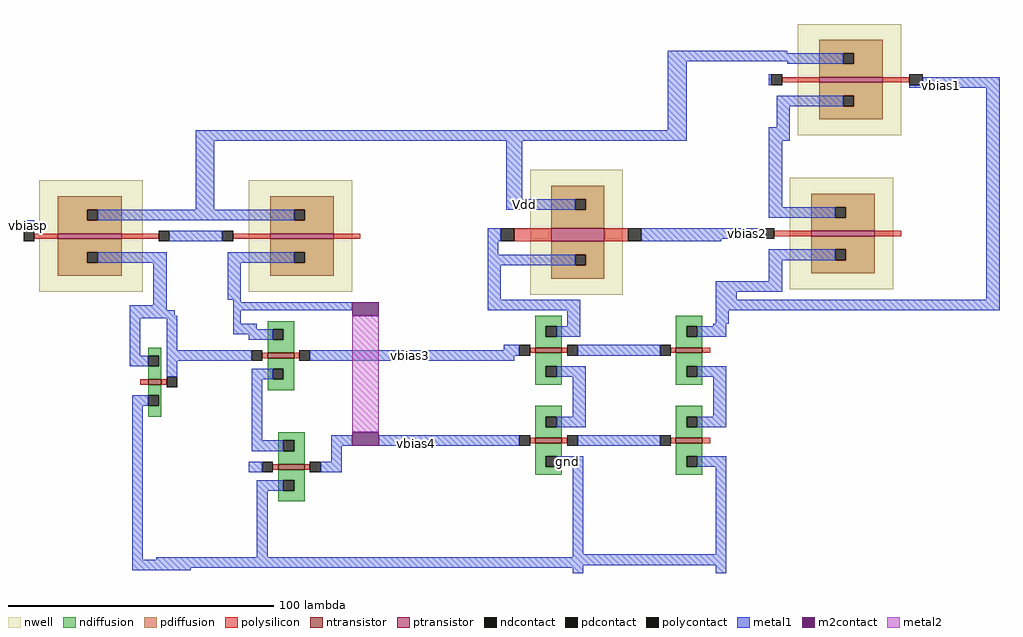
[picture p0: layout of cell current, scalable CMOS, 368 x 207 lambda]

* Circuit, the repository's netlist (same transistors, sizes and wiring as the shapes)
* SPICE3 file created from current.ext - technology: scmos

.option scale=0.09u

M1000 vbias1 vbias3 a_485_31# Gnd nfet w=10 l=2
+  ad=120 pd=44 as=240 ps=88
M1001 Vdd vbias2 vbias2 w_430_85# pfet w=20 l=5
+  ad=1328 pd=300 as=280 ps=68
M1002 a_432_31# vbias4 gnd Gnd nfet w=10 l=2
+  ad=240 pd=88 as=420 ps=166
M1003 Vdd vbiasp vbias3 w_245_86# pfet w=24 l=2
+  ad=0 pd=0 as=336 ps=76
M1004 a_331_49# vbias4 gnd Gnd nfet w=10 l=2
+  ad=240 pd=88 as=0 ps=0
M1005 a_485_31# vbias4 gnd Gnd nfet w=10 l=2
+  ad=0 pd=0 as=0 ps=0
M1006 vbias4 vbias3 a_331_49# Gnd nfet w=10 l=2
+  ad=120 pd=44 as=0 ps=0
M1007 Vdd vbiasp vbias4 w_324_86# pfet w=24 l=2
+  ad=0 pd=0 as=336 ps=76
M1008 Vdd vbias1 a_536_109# w_531_145# pfet w=24 l=2
+  ad=0 pd=0 as=672 ps=152
M1009 a_536_109# vbias2 vbias1 w_528_87# pfet w=24 l=2
+  ad=0 pd=0 as=336 ps=76
M1010 vbias3 vbias3 gnd Gnd nfet w=5 l=2
+  ad=60 pd=34 as=0 ps=0
M1011 vbias2 vbias3 a_432_31# Gnd nfet w=10 l=2
+  ad=120 pd=44 as=0 ps=0

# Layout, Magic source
magic
tech scmos
<< nwell >>
rect 531 145 570 187
rect 245 86 284 128
rect 324 86 363 128
rect 430 85 465 132
rect 528 87 567 129
<< ntransistor >>
rect 331 61 341 63
rect 432 63 442 65
rect 286 51 291 53
rect 485 63 495 65
rect 432 29 442 31
rect 485 29 495 31
rect 335 19 345 21
<< ptransistor >>
rect 539 165 563 167
rect 252 106 276 108
rect 332 106 356 108
rect 438 105 458 110
rect 536 107 560 109
<< ndiffusion >>
rect 331 72 341 75
rect 331 68 333 72
rect 337 68 341 72
rect 286 62 291 65
rect 290 58 291 62
rect 331 63 341 68
rect 432 73 442 77
rect 432 69 436 73
rect 440 69 442 73
rect 286 53 291 58
rect 331 57 341 61
rect 432 65 442 69
rect 485 73 495 77
rect 485 69 489 73
rect 493 69 495 73
rect 286 47 291 51
rect 331 53 333 57
rect 337 53 341 57
rect 331 49 341 53
rect 432 58 442 63
rect 485 65 495 69
rect 432 54 436 58
rect 440 54 442 58
rect 432 51 442 54
rect 485 58 495 63
rect 485 54 489 58
rect 493 54 495 58
rect 485 51 495 54
rect 290 43 291 47
rect 286 39 291 43
rect 432 39 442 43
rect 432 35 436 39
rect 440 35 442 39
rect 335 30 345 33
rect 335 26 337 30
rect 341 26 345 30
rect 432 31 442 35
rect 485 39 495 43
rect 485 35 489 39
rect 493 35 495 39
rect 335 21 345 26
rect 432 24 442 29
rect 485 31 495 35
rect 335 15 345 19
rect 432 20 436 24
rect 440 20 442 24
rect 432 17 442 20
rect 485 24 495 29
rect 485 20 489 24
rect 493 20 495 24
rect 485 17 495 20
rect 335 11 337 15
rect 341 11 345 15
rect 335 7 345 11
<< pdiffusion >>
rect 539 176 563 181
rect 539 172 548 176
rect 552 172 563 176
rect 539 167 563 172
rect 539 160 563 165
rect 539 156 548 160
rect 552 156 563 160
rect 539 151 563 156
rect 252 117 276 122
rect 252 113 263 117
rect 267 113 276 117
rect 252 108 276 113
rect 332 117 356 122
rect 332 113 341 117
rect 345 113 356 117
rect 252 101 276 106
rect 332 108 356 113
rect 438 121 458 126
rect 438 117 447 121
rect 451 117 458 121
rect 438 110 458 117
rect 536 118 560 123
rect 536 114 545 118
rect 549 114 560 118
rect 252 97 263 101
rect 267 97 276 101
rect 252 92 276 97
rect 332 101 356 106
rect 536 109 560 114
rect 332 97 341 101
rect 345 97 356 101
rect 332 92 356 97
rect 438 100 458 105
rect 438 96 447 100
rect 451 96 458 100
rect 438 91 458 96
rect 536 102 560 107
rect 536 98 545 102
rect 549 98 560 102
rect 536 93 560 98
<< ndcontact >>
rect 333 68 337 72
rect 286 58 290 62
rect 436 69 440 73
rect 489 69 493 73
rect 333 53 337 57
rect 436 54 440 58
rect 489 54 493 58
rect 286 43 290 47
rect 436 35 440 39
rect 337 26 341 30
rect 489 35 493 39
rect 436 20 440 24
rect 489 20 493 24
rect 337 11 341 15
<< pdcontact >>
rect 548 172 552 176
rect 548 156 552 160
rect 263 113 267 117
rect 341 113 345 117
rect 447 117 451 121
rect 545 114 549 118
rect 263 97 267 101
rect 341 97 345 101
rect 447 96 451 100
rect 545 98 549 102
<< polysilicon >>
rect 525 165 539 167
rect 563 165 573 167
rect 243 106 252 108
rect 276 106 290 108
rect 318 106 332 108
rect 356 106 366 108
rect 424 105 438 110
rect 458 105 467 110
rect 522 107 536 109
rect 560 107 570 109
rect 329 61 331 63
rect 341 61 343 63
rect 430 63 432 65
rect 442 63 444 65
rect 283 51 286 53
rect 291 51 293 53
rect 483 63 485 65
rect 495 63 498 65
rect 430 29 432 31
rect 442 29 444 31
rect 483 29 485 31
rect 495 29 498 31
rect 333 19 335 21
rect 345 19 347 21
<< polycontact >>
rect 521 164 525 168
rect 573 164 578 168
rect 239 105 243 109
rect 290 105 294 109
rect 314 105 318 109
rect 419 105 424 110
rect 467 105 472 110
rect 518 106 522 110
rect 325 60 329 64
rect 343 60 347 64
rect 426 62 430 66
rect 293 50 297 54
rect 444 62 448 66
rect 479 62 483 66
rect 426 28 430 32
rect 329 18 333 22
rect 444 28 448 32
rect 479 28 483 32
rect 347 18 351 22
<< metal1 >>
rect 482 176 527 177
rect 482 173 548 176
rect 482 147 489 173
rect 527 172 548 173
rect 520 164 521 168
rect 578 164 607 167
rect 573 163 607 164
rect 523 156 548 160
rect 523 148 528 156
rect 304 143 489 147
rect 520 143 528 148
rect 304 117 311 143
rect 421 121 427 143
rect 421 117 447 121
rect 520 118 525 143
rect 267 113 341 117
rect 520 114 545 118
rect 239 109 243 113
rect 294 105 314 109
rect 414 105 419 110
rect 472 106 518 110
rect 472 105 502 106
rect 267 97 293 101
rect 288 81 293 97
rect 316 97 341 101
rect 414 100 418 105
rect 316 83 321 97
rect 279 79 293 81
rect 318 82 321 83
rect 414 96 447 100
rect 520 98 545 102
rect 414 83 419 96
rect 520 90 525 98
rect 500 86 525 90
rect 500 83 508 86
rect 602 83 607 163
rect 318 79 363 82
rect 279 77 296 79
rect 279 76 297 77
rect 279 62 283 76
rect 293 64 297 76
rect 318 74 321 79
rect 414 79 449 83
rect 318 72 327 74
rect 444 73 449 79
rect 500 79 607 83
rect 500 74 505 79
rect 499 73 504 74
rect 318 70 333 72
rect 324 68 333 70
rect 440 69 449 73
rect 493 69 504 73
rect 420 64 426 66
rect 279 58 286 62
rect 293 60 325 64
rect 347 62 426 64
rect 448 62 479 66
rect 347 60 424 62
rect 293 54 297 60
rect 325 53 333 57
rect 440 54 451 58
rect 493 54 504 58
rect 280 43 286 47
rect 280 -15 284 43
rect 325 30 329 53
rect 446 39 451 54
rect 499 39 504 54
rect 440 35 451 39
rect 493 35 504 39
rect 325 26 337 30
rect 355 28 363 32
rect 373 28 426 32
rect 448 28 479 32
rect 355 22 359 28
rect 324 18 329 22
rect 351 18 359 22
rect 440 20 450 24
rect 493 20 504 24
rect 327 11 337 15
rect 327 -14 331 11
rect 446 -13 450 20
rect 500 -13 504 20
rect 446 -14 504 -13
rect 289 -15 504 -14
rect 280 -17 504 -15
rect 280 -18 450 -17
rect 280 -19 302 -18
rect 446 -20 450 -18
rect 500 -20 504 -17
<< m2contact >>
rect 363 77 373 82
rect 363 28 373 33
<< metal2 >>
rect 363 33 373 77
<< labels >>
rlabel metal1 444 22 444 22 1 gnd
rlabel metal1 428 119 428 119 1 Vdd
rlabel metal1 241 111 241 111 1 vbiasp
rlabel metal1 385 62 385 62 1 vbias3
rlabel metal1 387 29 387 29 1 vbias4
rlabel metal1 585 164 585 164 1 vbias1
rlabel metal1 512 108 512 108 1 vbias2
<< end >>
